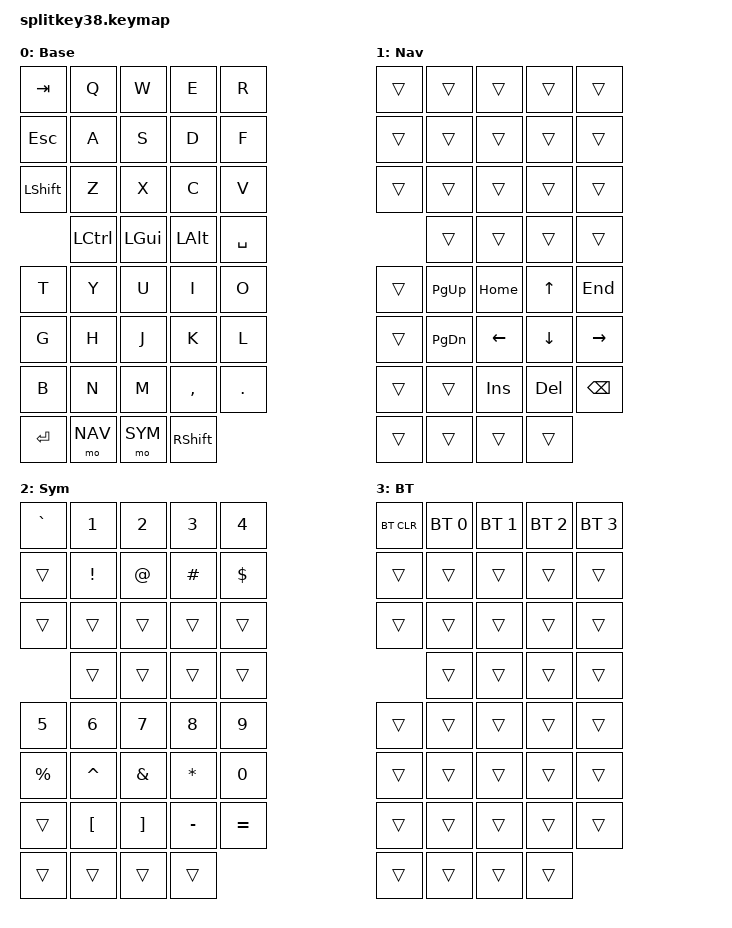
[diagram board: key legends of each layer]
/*
 * SplitKey38 — ZMK keymap
 * MCU:    Seeed XIAO nRF52840
 * Layout: 5 cols × 4 rows per side (rows R1-R4)
 *         R1-R3 = 5 keys each, R4 = 4 keys (thumb cluster)
 *         Total: 19 keys per side, 38 keys combined
 *
 * Matrix (left side, right is mirror):
 *   R1: SW1  SW3  SW6  SW7  SW9     → row 0, cols 0-4
 *   R2: SW11 SW13 SW15 SW17 SW19    → row 1, cols 0-4
 *   R3: SW21 SW23 SW25 SW27 SW29    → row 2, cols 0-4
 *   R4: SW31 SW33 SW35 SW37         → row 3, cols 0-3 (col 4 = KC_NO)
 *
 * Diodes: 1N4148W, COL2ROW
 */

#include <behaviors.dtsi>
#include <dt-bindings/zmk/keys.h>
#include <dt-bindings/zmk/bt.h>
#include <dt-bindings/zmk/outputs.h>

#define BASE  0
#define NAV   1
#define SYM   2
#define BT    3

/ {
    keymap {
        compatible = "zmk,keymap";

        /* ── BASE ─────────────────────────────────────────────────── */
        base_layer {
            label = "Base";
            bindings = <
        //  col0      col1      col2      col3      col4
        //  ────────────────────────────────────────────── LEFT
            &kp TAB   &kp Q     &kp W     &kp E     &kp R
            &kp ESC   &kp A     &kp S     &kp D     &kp F
            &kp LSHFT &kp Z     &kp X     &kp C     &kp V
                      &kp LCTL  &kp LGUI  &kp LALT  &kp SPACE
        //  ────────────────────────────────────────────── RIGHT
            &kp T     &kp Y     &kp U     &kp I     &kp O
            &kp G     &kp H     &kp J     &kp K     &kp L
            &kp B     &kp N     &kp M     &kp COMMA &kp DOT
            &kp RET   &mo NAV   &mo SYM   &kp RSHFT
            >;
        };

        /* ── NAV ──────────────────────────────────────────────────── */
        nav_layer {
            label = "Nav";
            bindings = <
            &trans    &trans    &trans    &trans    &trans
            &trans    &trans    &trans    &trans    &trans
            &trans    &trans    &trans    &trans    &trans
                      &trans    &trans    &trans    &trans

            &trans    &kp PG_UP &kp HOME  &kp UP    &kp END
            &trans    &kp PG_DN &kp LEFT  &kp DOWN  &kp RIGHT
            &trans    &trans    &kp INS   &kp DEL   &kp BSPC
            &trans    &trans    &trans    &trans
            >;
        };

        /* ── SYM ──────────────────────────────────────────────────── */
        sym_layer {
            label = "Sym";
            bindings = <
            &kp GRAVE &kp N1    &kp N2    &kp N3    &kp N4
            &trans    &kp EXCL  &kp AT    &kp HASH  &kp DLLR
            &trans    &trans    &trans    &trans    &trans
                      &trans    &trans    &trans    &trans

            &kp N5    &kp N6    &kp N7    &kp N8    &kp N9
            &kp PRCNT &kp CARET &kp AMPS  &kp STAR  &kp N0
            &trans    &kp LBKT  &kp RBKT  &kp MINUS &kp EQUAL
            &trans    &trans    &trans    &trans
            >;
        };

        /* ── BT ───────────────────────────────────────────────────── */
        bt_layer {
            label = "BT";
            bindings = <
            &bt BT_CLR &bt BT_SEL 0 &bt BT_SEL 1 &bt BT_SEL 2 &bt BT_SEL 3
            &trans     &trans       &trans        &trans        &trans
            &trans     &trans       &trans        &trans        &trans
                       &trans       &trans        &trans        &trans

            &trans    &trans    &trans    &trans    &trans
            &trans    &trans    &trans    &trans    &trans
            &trans    &trans    &trans    &trans    &trans
            &trans    &trans    &trans    &trans
            >;
        };
    };
};
